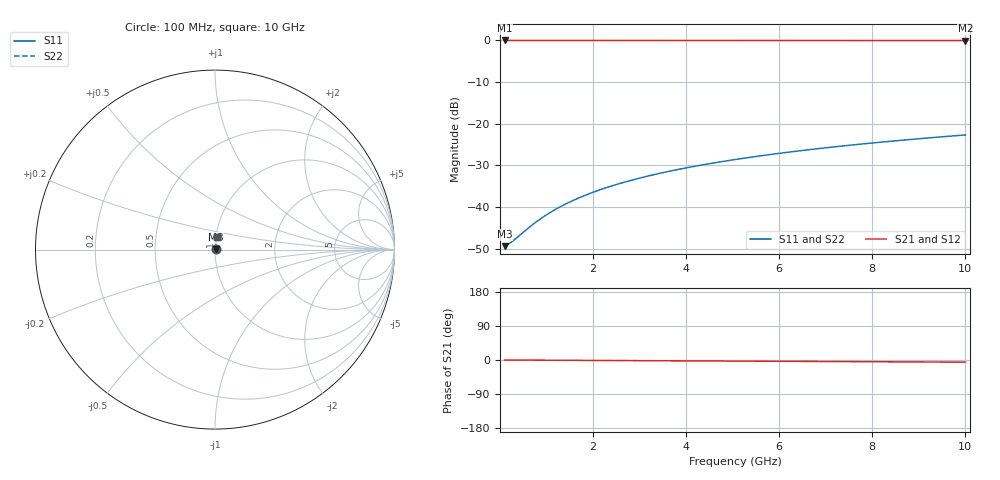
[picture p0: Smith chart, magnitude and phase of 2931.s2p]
# Hz S RI R 50.00
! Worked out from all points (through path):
!   100 points, 100 MHz to 10 GHz, reference 50 ohm
!   highest |S21| = -0.03 dB at 100 MHz (marker M1); lowest = -0.1 dB at 10 GHz (marker M2)
!   lowest |S11| = -49.3 dB at 100 MHz (marker M3), VSWR 1.01, Z = 50.3 + j0.0736 ohm
!   |S11| at or under -10 dB: start of sweep to end of sweep
!   |S22| runs from -49.3 to -22.7 dB; largest |S21 - S12| = 0
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1e8  0.00333 0.000731  0.9967 -0.000989  0.9967 -0.000989  0.00333 0.000731
2e8  0.00336 0.00146  0.9966 -0.00198  0.9966 -0.00198  0.00336 0.00146
3e8  0.00338 0.00219  0.9966 -0.00297  0.9966 -0.00297  0.00338 0.00219
7e8  0.00345 0.00512  0.9965 -0.00692  0.9965 -0.00692  0.00345 0.00512
8e8  0.00347 0.00585  0.9965 -0.00791  0.9965 -0.00791  0.00347 0.00585
1e9  0.00351 0.00731  0.9965 -0.00989  0.9965 -0.00989  0.00351 0.00731
1.2e9  0.00355 0.00877  0.9964 -0.0119  0.9964 -0.0119  0.00355 0.00877
1.4e9  0.0036 0.0102  0.9964 -0.0138  0.9964 -0.0138  0.0036 0.0102
1.6e9  0.00366 0.0117  0.9963 -0.0158  0.9963 -0.0158  0.00366 0.0117
1.8e9  0.00371 0.0132  0.9963 -0.0178  0.9963 -0.0178  0.00371 0.0132
2.1e9  0.00381 0.0154  0.9962 -0.0208  0.9962 -0.0208  0.00381 0.0154
2.5e9  0.00396 0.0183  0.996 -0.0247  0.996 -0.0247  0.00396 0.0183
2.9e9  0.00413 0.0212  0.9958 -0.0287  0.9958 -0.0287  0.00413 0.0212
3.4e9  0.00438 0.0248  0.9956 -0.0336  0.9956 -0.0336  0.00438 0.0248
3.8e9  0.0046 0.0278  0.9953 -0.0376  0.9953 -0.0376  0.0046 0.0278
4.2e9  0.00484 0.0307  0.9951 -0.0415  0.9951 -0.0415  0.00484 0.0307
5.1e9  0.00548 0.0372  0.9944 -0.0504  0.9944 -0.0504  0.00548 0.0372
5.9e9  0.00614 0.043  0.9937 -0.0583  0.9937 -0.0583  0.00614 0.043
6.7e9  0.00689 0.0488  0.9929 -0.0662  0.9929 -0.0662  0.00689 0.0488
7.5e9  0.00773 0.0546  0.9921 -0.074  0.9921 -0.074  0.00773 0.0546
8.4e9  0.00879 0.0611  0.991 -0.0829  0.991 -0.0829  0.00879 0.0611
1e10  0.011 0.0727  0.9887 -0.0985  0.9887 -0.0985  0.011 0.0727
